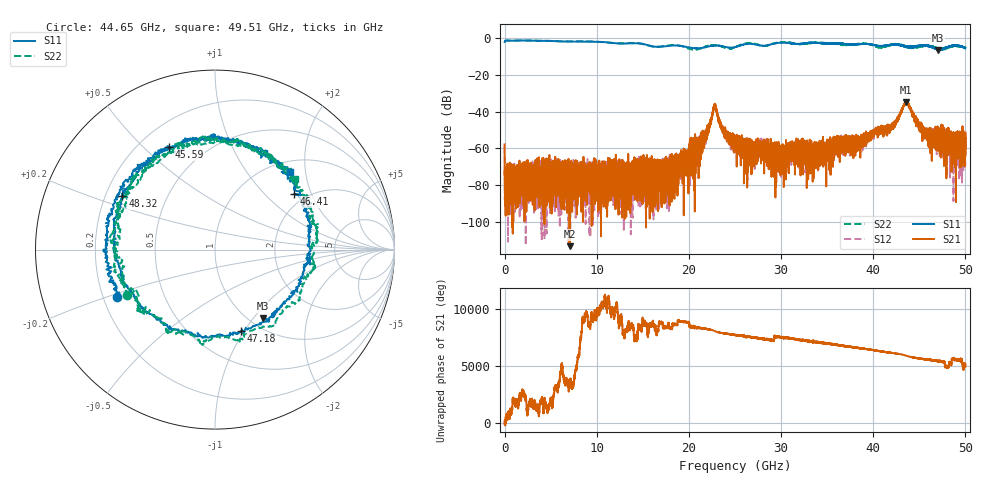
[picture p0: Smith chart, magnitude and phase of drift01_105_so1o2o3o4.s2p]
!Created with skrf (http://scikit-rf.org).
# Hz S RI R 50.0
!freq ReS11 ImS11 ReS21 ImS21 ReS12 ImS12 ReS22 ImS22
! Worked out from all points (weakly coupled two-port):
!   10001 points, 300 kHz to 50 GHz, reference 50 ohm
!   highest |S21| = -34.78 dB at 43.57 GHz (marker M1); lowest = -113.1 dB at 7.045 GHz (marker M2)
!   lowest |S11| = -6.6 dB at 47.07 GHz (marker M3), VSWR 2.75, Z = 57 - j55.9 ohm
!   |S11| at or under -10 dB: nowhere
!   |S22| runs from -6.4 to -1.4 dB; largest |S21 - S12| = 0.0039
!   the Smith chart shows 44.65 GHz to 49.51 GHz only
!   S11 on the Smith chart (normalised r, x): 44.65 GHz: 0.26, -0.21; 45.59 GHz: 0.32, +0.60; 46.41 GHz: 1.74, +1.52; 47.18 GHz: 0.83, -0.97; 48.32 GHz: 0.27, +0.25; 49.51 GHz: 1.22, +1.65
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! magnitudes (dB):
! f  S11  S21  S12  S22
! 300 kHz  -2.2  -57.8  -58.6  -2.1
! 280.3 MHz  -1.4  -76.7  -78.5  -1.4
! 7.045 GHz  -2.0  -113.1  -70.8  -1.9
! 8.335 GHz  -1.9  -81.5  -84.5  -1.8
! 16.67 GHz  -4.8  -66.3  -77.0  -4.8
! 17.92 GHz  -4.2  -75.8  -75.9  -4.0
! 20.85 GHz  -5.7  -58.9  -58.5  -6.2
! 22.8 GHz  -4.3  -36.1  -36.1  -4.0
! 23.77 GHz  -4.6  -52.1  -50.1  -5.0
! 25 GHz  -5.0  -57.7  -56.0  -5.1
! 29.45 GHz  -2.8  -60.8  -60.1  -2.7
! 33.34 GHz  -2.6  -63.5  -61.2  -2.7
! 41.67 GHz  -3.8  -49.6  -49.7  -4.2
! 43.57 GHz  -4.8  -34.8  -35.2  -4.6
! 44.65 GHz  -4.4  -44.3  -44.1  -5.2
! 45.59 GHz  -4.0  -52.3  -52.8  -4.3
! 46.41 GHz  -5.4  -51.8  -52.4  -4.7
! 47.07 GHz  -6.6  -53.1  -51.5  -5.5
! 47.18 GHz  -6.4  -53.8  -55.1  -6.1
! 48.32 GHz  -4.5  -54.3  -56.8  -5.2
! 49.51 GHz  -4.4  -54.5  -57.4  -4.5
! 50 GHz  -5.5  -54.4  -69.3  -5.3
